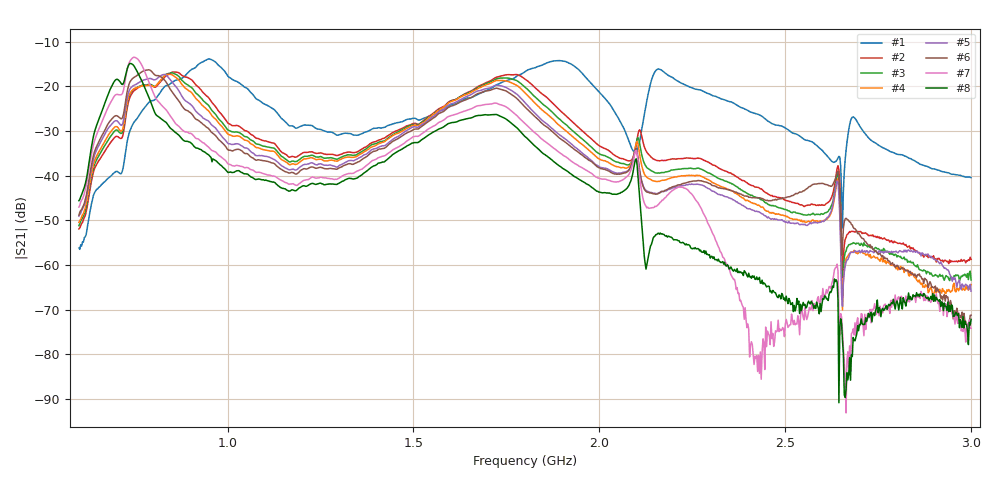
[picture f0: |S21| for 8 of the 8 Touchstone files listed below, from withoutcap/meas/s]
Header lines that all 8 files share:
#  HZ  S  RI  R  50.00
! Rohde & Schwarz ZVB8 2Ports - Version 2.81 - 1145.1010k08 SN: 100113
! Measurements: S11 S21 S12 S22
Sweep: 600 MHz to 3 GHz
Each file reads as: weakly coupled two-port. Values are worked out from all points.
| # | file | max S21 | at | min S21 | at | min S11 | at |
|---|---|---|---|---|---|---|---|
| 1 | wonder_4_0_0_0.s2p | -13.84 dB | 950.8 MHz | -56.5 dB | 602.4 MHz | -25.0 dB | 2.683 GHz |
| 2 | wonder_f_7_0_0.s2p | -16.76 dB | 854.7 MHz | -64.4 dB | 2.654 GHz | -13.4 dB | 744.1 MHz |
| 3 | wonder_f_b_0_0.s2p | -16.92 dB | 849.8 MHz | -67.5 dB | 2.654 GHz | -12.8 dB | 734.5 MHz |
| 4 | wonder_f_d_0_0.s2p | -17.27 dB | 840.2 MHz | -70.1 dB | 2.654 GHz | -12.6 dB | 712.9 MHz |
| 5 | wonder_f_f_4_0.s2p | -17.33 dB | 830.6 MHz | -69.3 dB | 2.654 GHz | -13.5 dB | 705.7 MHz |
| 6 | wonder_f_f_8_0.s2p | -16.28 dB | 787.4 MHz | -74.6 dB | 2.99 GHz | -13.5 dB | 705.7 MHz |
| 7 | wonder_f_f_f_5.s2p | -13.46 dB | 748.9 MHz | -93.1 dB | 2.664 GHz | -13.3 dB | 705.7 MHz |
| 8 | wonder_f_f_f_d.s2p | -14.86 dB | 739.3 MHz | -90.8 dB | 2.644 GHz | -13.1 dB | 705.7 MHz |
